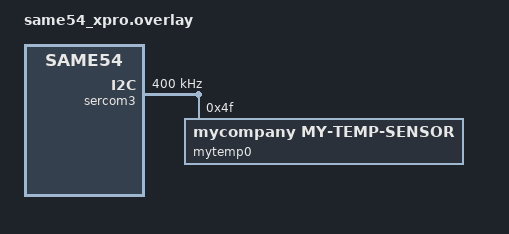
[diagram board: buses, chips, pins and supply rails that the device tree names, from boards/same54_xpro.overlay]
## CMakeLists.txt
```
cmake_minimum_required(VERSION 3.20.0)

message(STATUS "ZEPHYR BASE is: $ENV{ZEPHYR_BASE}")
find_package(Zephyr REQUIRED HINTS $ENV{ZEPHYR_BASE})
project(demo_temperature_driver_model)

target_sources(app PRIVATE src/main.c)

zephyr_linker_sources(SECTIONS ${CMAKE_SOURCE_DIR}/sections-rom.ld)
```

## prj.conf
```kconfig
# I2C
CONFIG_I2C=y #I2C_SAM0 included

# Networking core
CONFIG_NETWORKING=y #enables generic link layer and networking support and is the basis for higher level protocols (e.g. IP protocols).
CONFIG_NET_IPV4=y #device is able to send and receive IPv4 network packets
CONFIG_NET_TCP=y #HTTP uses TCP,depends on NET_IP which depends on NET_IPV4(NET_UDP not needed)
CONFIG_NET_ARP=y # Address Resolution Protocol maps IP addr to MAC address(if disabled, MCU doesnt send packets to browser)

# HTTP server
CONFIG_HTTP_SERVER=y #can start a HTTP server threead,open TCP socket,bind to port 8080, listen to clients, sends requests to handlers
CONFIG_HTTP_SERVER_CAPTURE_HEADERS=y #enables HTTP server to store selected "request headers". These "request header" are given to Java Script handler along with temperature value
CONFIG_HTTP_SERVER_CAPTURE_HEADER_COUNT=1

# Static IPv4 (same as your working app)
CONFIG_NET_CONFIG_SETTINGS=y #init`s the network interface, like applying IPv4 addr to MCU 
CONFIG_NET_CONFIG_AUTO_INIT=y #applies the settings in CONFIG_SETTINGS at boot

# Set static IP address for board


CONFIG_NET_CONFIG_MY_IPV4_NETMASK="255.255.255.0"

CONFIG_LOG=y
```

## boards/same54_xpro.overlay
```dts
/ {
    aliases {
      sercom3 = &sercom3;
    };
};

/* Configure SERCOM3 I2C pins (matches your working app) */
&pinctrl {
  sercom3_i2c_default: sercom3_i2c_default {
    group1 {
      pinmux = <PA22C_SERCOM3_PAD0>, /* SDA */
              <PA23C_SERCOM3_PAD1>; /* SCL */
    };
  };
};

/* Enable SERCOM3 as I2C */
&sercom3 {
  status = "okay";
  compatible = "atmel,sam0-i2c";
  clock-frequency = <I2C_BITRATE_FAST>;
  #address-cells = <1>;
  #size-cells = <0>;
  pinctrl-0 = <&sercom3_i2c_default>;
  pinctrl-names = "default";

  /* Use YOUR custom temp driver here (replaces at30tse75x@4F) */
  mytemp0: mytemp@4f {
    compatible = "mycompany,my-temp-sensor";
    reg = <0x4f>; 
    temp-reg = <0>; /* Temperature Register address is 0x0 in AT30TSE758*/
    resolution-bits = <9>;
    status = "okay";
  };
};


/* Root nodes */
 / {
  /* Demo HTTP “driver” instance, linked to the temp sensor via phandle */
  my_http0: my_http0 {
    compatible = "mycompany,my-http-temp";
    status = "okay";
    port = <8080>;
    concurrent = <1>;
    backlog = <10>;
    temp-sensor = <&mytemp0>;
  };
};
```

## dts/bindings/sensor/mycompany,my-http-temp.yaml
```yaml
description: HTTP temperature service driver
compatible: "mycompany,my-http-temp"
properties:
  port:
    type: int
    required: true

  concurrent:
    type: int
    default: 1

  backlog:
    type: int
    default: 10

  temp-sensor:
    type: phandle
    required: true
    description: Phandle to the mycompany,my-temp-sensor node
```

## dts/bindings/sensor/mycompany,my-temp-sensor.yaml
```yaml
description: Demo I2C temperature sensor driver for training
compatible: "mycompany,my-temp-sensor"

include: [i2c-device.yaml]

properties:
  reg:
    required: true

  temp-reg:
    type: int
    default: 0
    description: Temperature register address to read (demo)

  resolution-bits:
    type: int
    default: 12
    description: Resolution in bits (demo; driver assumes 12-bit style Q4 format)
```

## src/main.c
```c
#include <zephyr/kernel.h>
#include <zephyr/device.h>
#include <zephyr/logging/log.h>

#include <zephyr/drivers/i2c.h>
#include <zephyr/net/net_if.h>/*includes #include <zephyr/net/net_ip.h> for net_addr_ntop*/
#include <zephyr/net/http/server.h>/*for http_server_start()*/
#include <zephyr/net/http/service.h>/*HTTP_SERVICE_DEFINE and HTTP_RESOURCE_DEFINE*/
#include <zephyr/sys/atomic.h>

#include <stdlib.h>

LOG_MODULE_REGISTER(app, LOG_LEVEL_INF);

/* register "Accept" header to be captured */
/*"Accept" is a request header sent from browser to MCU letting it know it expects text/plain kind of response */
HTTP_SERVER_REGISTER_HEADER_CAPTURE(capture_accept, "Accept");

struct my_i2c_device_config {
 struct i2c_dt_spec i2c_dev;
 uint8_t temp_reg;
};

struct my_http_temp_config {
 const struct device *temp_dev;
 uint16_t port;
 uint8_t concurrent;
 uint8_t backlog;
};

static const struct my_i2c_device_config my_i2c_device_config_var = {
  .i2c_dev = {.bus = DEVICE_DT_GET(DT_ALIAS(sercom3)), .addr = DT_REG_ADDR(DT_NODELABEL(mytemp0))},
  .temp_reg = DT_PROP(DT_NODELABEL(mytemp0),temp_reg)
};

static const struct my_http_temp_config my_http_temp_config_var = {                            
 .port = DT_PROP(DT_NODELABEL(my_http0), port),                                                
 .concurrent = DT_PROP(DT_NODELABEL(my_http0), concurrent),                              
 .backlog = DT_PROP(DT_NODELABEL(my_http0), backlog),                                  
}; 

static const uint8_t welcome_html[] =
 "<!DOCTYPE html>\n"
 "<html><body>\n"
 "<h2>Welcome to Temperature monitor app</h2>\n"
 "</body></html>\n";

/**
 * Below array(temp_page_html) is stored in fimrware as text
 * When browser sends HTTP request(http://192.168.1.107:8080/temp) 
 * to board it gets back this array. Browser runs this below HTML text on the web page.
 * Current Temperature
 * Loading...
 * 
 * It then runs a Java Script b/w <script> </script>
 * fetch('/temp' - Tells browser to make an HTTP request to the board
 * the board sends http response body in a TCP packet over ethernet to browser
 * { headers: { 'Accept': 'text/plain' } }) - browser expects a temperature response in plain text
 * r=>r.text() - take http response body(the temperature text) from board and convert it into a string
 * t=>{document.getElementById('temp') --> put this temperature string on the web page,replace
 * "Loading..." with this temperature string, in here, <div id='temp'>Loading...</div>
 * SO "fetch('/temp'"(temp resource) basically calls temp_handler() function every 1 second to give
 * live temperature
 */
static const uint8_t temp_page_html[] =
 "<!DOCTYPE html>\n"
 "<html><head><title>Temperature Monitor</title>\n"
 "<script>\n"
 "function updateTemp(){\n"
 "  fetch('/temp', { headers: { 'Accept': 'text/plain' } })\n"
 "    .then(r=>r.text())\n"
 "    .then(t=>{document.getElementById('temp').textContent=t;});\n"
 "}\n"
 "setInterval(updateTemp,1000);\n"
 "window.onload=updateTemp;\n"
 "</script>\n"
 "</head><body>\n"
 "<h1>Current Temperature</h1>\n"
 "<div id='temp'>Loading...</div>\n"
 "</body></html>\n";

int16_t get_temp(uint8_t *buf)
{
 uint16_t raw = (int16_t)((buf[0] << 8) | (buf[1]));
 raw = raw/128;
 int16_t hundred_c = raw*50;
 int16_t hundred_f = (hundred_c * 9)/5 + 3200;
 return hundred_f/100;
}

static bool wants_plain(const struct http_client_ctx *client)
{
#if defined(CONFIG_HTTP_SERVER_CAPTURE_HEADERS)
 const struct http_header *hdrs = client->header_capture_ctx.headers;
 size_t n = client->header_capture_ctx.count;

 for (size_t i = 0; i < n; i++) {
  if (hdrs[i].name && hdrs[i].value && strcmp(hdrs[i].name, "Accept") == 0) {
   return (strstr(hdrs[i].value, "text/plain") != NULL);
  }
 }
#endif
 return false;
}

/**
 * In current design, /temp returns:
 * fixed HTML page (when browser loads /temp)
 * then temperature value in plain text (when JS fetch asks for Accept: text/plain) every 1 second
 */
static int temp_handler(struct http_client_ctx *client, enum http_data_status status,
   const struct http_request_ctx *request_ctx,
   struct http_response_ctx *response_ctx, void *user_data)
{
 char temperature_buf[24];
 uint8_t buf[2];

 ARG_UNUSED(request_ctx);
 if(wants_plain(client) == false)
 {
  response_ctx->status = 200;
  response_ctx->body = temp_page_html;
  response_ctx->body_len = sizeof(temp_page_html) - 1;
  response_ctx->final_chunk = true;
  return 0;
 }
 else{
  if (status == HTTP_SERVER_DATA_FINAL) {
  int ret = i2c_write_read_dt(&(my_i2c_device_config_var.i2c_dev),&(my_i2c_device_config_var.temp_reg),sizeof(my_i2c_device_config_var.temp_reg),buf,sizeof(buf)/sizeof(buf[0]));
  if (ret) {
   static const char err[] = "temp read error\n";
   response_ctx->status = 500;
   response_ctx->body = err;
   response_ctx->body_len = sizeof(err) - 1;
   response_ctx->final_chunk = true;
   return 0;
  }

  snprintk(temperature_buf, sizeof(temperature_buf), "%d F\n", get_temp(buf));

  response_ctx->status = 200;
  response_ctx->body = (const uint8_t *)temperature_buf;
  response_ctx->body_len = strlen(temperature_buf);
  response_ctx->final_chunk = true;
  }
  else{
   return 0;
  }
 }
 return 0;
}

/**
 *  Big picture
 * A service is made at build time by HTTP_SERVICE_DEFINE
 * When application starts, Zephyr HTTP server service starts running in main.c.
 * Use the running HTTP server service "my_http_svc_0" with either resource "/" or resource "/temp" when browser does either:
 * http://192.168.1.107:8080/
 * OR
 * http://192.168.1.107:8080/temp)
 * HTTP_SERVICE_DEFINE = “open a restaurant (port, concurrency, backlog)”
 * HTTP_RESOURCE_DEFINE = “add a menu item (URL path)”
 * STATIC resource = “serve a pre-made dish (fixed bytes)”
 * DYNAMIC resource = “cook it fresh each time (callback function)”
 * user_data = “kitchen ticket that says which branch/location this order is for (which device instance)”
 */
static uint16_t http_service_port = DT_PROP(DT_NODELABEL(my_http0), port);                              
HTTP_SERVICE_DEFINE(my_http_svc_0, "0.0.0.0", &http_service_port,                      
   DT_PROP(DT_NODELABEL(my_http0), concurrent),                                      
   DT_PROP(DT_NODELABEL(my_http0), backlog),                                         
   NULL, NULL, NULL);                                                        
                        
static struct http_resource_detail_static my_static_resource_detail = {                           
 .common = {                                                                          
  .type = HTTP_RESOURCE_TYPE_STATIC,                                           
  .bitmask_of_supported_http_methods = BIT(HTTP_GET),                          
  .content_type = "text/html",                                                
 },                                                                                  
 .static_data = welcome_html,                                                         
 .static_data_len = sizeof(welcome_html) - 1,                                         
};                                                                                         
HTTP_RESOURCE_DEFINE(my_static_resource, my_http_svc_0, "/", &my_static_resource_detail);     
                        
static struct http_resource_detail_dynamic my_temperature_resource_detail = {                           
 .common = {                                                                          
  .type = HTTP_RESOURCE_TYPE_DYNAMIC,                                          
  .bitmask_of_supported_http_methods = BIT(HTTP_GET),                          
  .content_type = "text/html",                                               
 },                                                                                  
 .cb = temp_handler,                                                                 
 .user_data = NULL,//(void *)DEVICE_DT_GET(DT_NODELABEL(my_http0)),                                     
};                                                                                         
HTTP_RESOURCE_DEFINE(my_temperature_resource, my_http_svc_0, "/temp", &my_temperature_resource_detail);   

#define USER_STACK_SIZE 1024
K_THREAD_STACK_DEFINE(user_stack,USER_STACK_SIZE);

/* One global HTTP server for all services/resources */
static atomic_t server_users;

int main(void)
{
 char addr_str[NET_IPV4_ADDR_LEN];
                                               
 uint8_t buf[2];
 int ret = -1;

//Sub-Step 1(lab 3)
/*Bring ethernet interface up*/
struct net_if *eth_interface = net_if_get_default();

if (eth_interface == NULL) {
    LOG_ERR("No default network interface found");
    return -ENODEV;
}

LOG_INF("Default Ethernet interface found");

/* Check if cable is connected */
if (net_if_is_carrier_ok(eth_interface)) {
    LOG_INF("Ethernet carrier/link is detected");
} else {
    LOG_WRN("Ethernet carrier/link is NOT detected; cable may be unplugged");
}

/* Check if cable is connected */
if (net_if_is_carrier_ok(eth_interface)) {
    LOG_INF("Ethernet carrier/link is detected");
} else {
    LOG_WRN("Ethernet carrier/link is NOT detected; cable may be unplugged");
}

//Sub-Step 2(lab 3)
/*Print Board`s IP address*/
struct in_addr *addr = net_if_ipv4_get_global_addr(eth_interface, NET_ADDR_PREFERRED);
 if (!addr) {
  LOG_WRN("No IPv4 address yet");
  return -EAGAIN;
 }

net_addr_ntop(AF_INET, addr, addr_str, sizeof(addr_str));
LOG_INF("IPv4 addr: %s", addr_str);

//Sub-Step 3(lab 3)
/*Start HTTP server*/
 int old = atomic_inc(&server_users);                                              
 if (old == 0) {        
  /*The server runs in a background thread. Once started, the server will create
  * a server socket for all HTTP services registered in the system and accept
  * connections from clients*/                                                           
  ret = http_server_start();                                            
  if (ret) {                                                                
   (void)atomic_dec(&server_users);                                   
   return ret;                                                        
  }                                                                          
 }                                                                                                                                            
 LOG_INF("HTTP temp service started on port %u", my_http_temp_config_var.port);

//Sub-Step 4(lab 3)
 while(1)
 {
  ret = i2c_write_read_dt(&(my_i2c_device_config_var.i2c_dev),&(my_i2c_device_config_var.temp_reg),sizeof(my_i2c_device_config_var.temp_reg),buf,sizeof(buf)/sizeof(buf[0]));
  if(ret)
  {
  LOG_ERR("I2C write read failed!,Ensure extension is connected");
  continue;
  }

  LOG_INF("Temp: %d F",get_temp(buf));
  k_sleep(K_SECONDS(1));
 }
}
```
